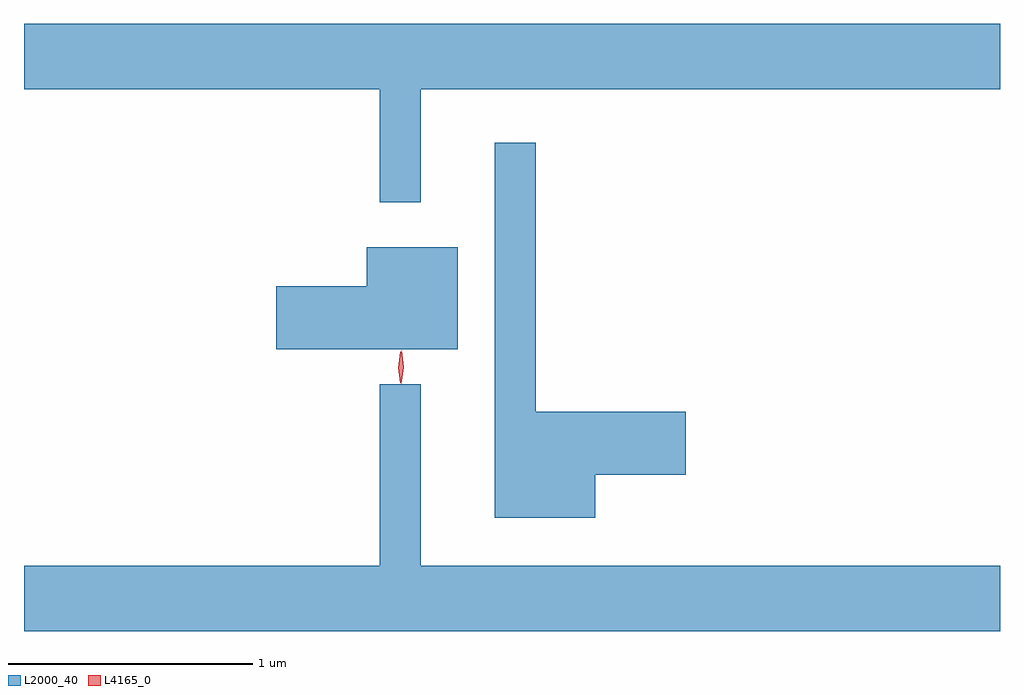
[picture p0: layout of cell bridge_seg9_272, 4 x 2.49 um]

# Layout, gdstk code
import gdstk
lib = gdstk.Library(unit=1e-6, precision=1e-09)
def P(c, l, *ps):  # polygons
    for p in ps: c.add(gdstk.Polygon(p, *l))
L2000_40 = (2000, 40)
L4165_0 = (4165, 0)

bridge_seg9_272 = lib.new_cell('bridge_seg9_272')
P(bridge_seg9_272, L2000_40, [(947.009,2076.176),(949.382,2076.176),(949.382,2076.444),(945.382,2076.444),(945.382,2076.176),(946.841,2076.176),(946.841,2075.713),(947.009,2075.713)],
  [(947.724,2074.596),(948.094,2074.596),(948.094,2074.854),(947.479,2074.854),(947.479,2075.958),(947.311,2075.958),(947.311,2074.421),(947.724,2074.421)],
  [(947.159,2075.529),(946.786,2075.529),(946.786,2075.369),(946.416,2075.369),(946.416,2075.111),(947.159,2075.111)],
  [(949.382,2074.224),(947.009,2074.224),(947.009,2074.968),(946.841,2074.968),(946.841,2074.224),(945.382,2074.224),(945.382,2073.956),(949.382,2073.956)])
P(bridge_seg9_272, L4165_0, [(946.928,2074.97),(946.928,2074.97),(946.919,2075.038),(946.93,2075.106),(946.93,2075.106),(946.931,2075.106),(946.939,2075.038),(946.929,2074.97)],
  [(946.924,2074.973),(946.915,2075.036),(946.924,2075.1),(946.925,2075.1),(946.926,2075.1),(946.935,2075.036),(946.926,2074.973),(946.925,2074.973)])

lib.write_gds('bridge_seg9_272.gds')
